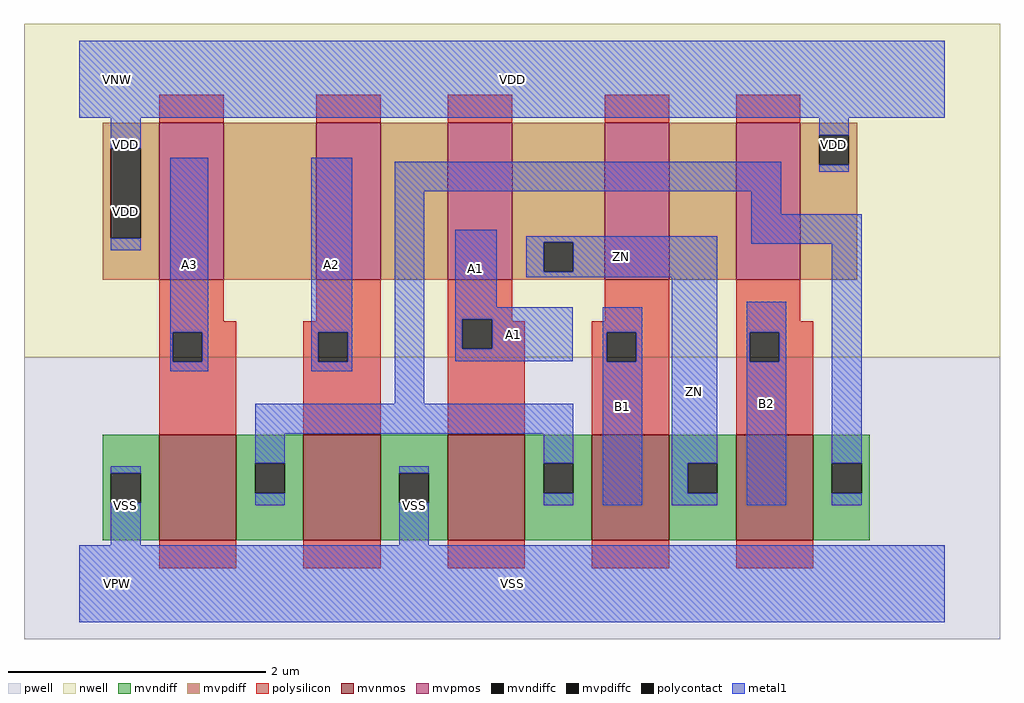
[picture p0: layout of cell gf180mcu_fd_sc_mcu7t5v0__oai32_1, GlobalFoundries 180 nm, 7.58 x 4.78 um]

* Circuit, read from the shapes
.subckt gf180mcu_fd_sc_mcu7t5v0__oai32_1 A1 A2 A3 B1 B2 ZN VDD VNW VPW VSS
XM1 n1 A3 VSS VPW nfet_06v0 w=0.82u l=0.6u
XM2 VSS A2 n1 VPW nfet_06v0 w=0.82u l=0.6u
XM3 n1 A1 VSS VPW nfet_06v0 w=0.82u l=0.6u
XM4 ZN B1 n1 VPW nfet_06v0 w=0.82u l=0.6u
XM5 n1 B2 ZN VPW nfet_06v0 w=0.82u l=0.6u
XM6 n2 A3 VDD VNW pfet_06v0 w=1.22u l=0.5u
XM7 n3 A2 n2 VNW pfet_06v0 w=1.22u l=0.5u
XM8 ZN A1 n3 VNW pfet_06v0 w=1.22u l=0.5u
XM9 n4 B1 ZN VNW pfet_06v0 w=1.22u l=0.5u
XM10 VDD B2 n4 VNW pfet_06v0 w=1.22u l=0.5u
.ends

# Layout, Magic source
magic
tech gf180mcuD
magscale 1 10
<< nwell >>
rect -86 352 1430 870
<< pwell >>
rect -86 -86 1430 352
<< mvnmos >>
rect 124 68 244 232
rect 348 68 468 232
rect 572 68 692 232
rect 796 68 916 232
rect 1020 68 1140 232
<< mvpmos >>
rect 124 472 224 716
rect 368 472 468 716
rect 572 472 672 716
rect 816 472 916 716
rect 1020 472 1120 716
<< mvndiff >>
rect 36 172 124 232
rect 36 126 49 172
rect 95 126 124 172
rect 36 68 124 126
rect 244 187 348 232
rect 244 141 273 187
rect 319 141 348 187
rect 244 68 348 141
rect 468 172 572 232
rect 468 126 497 172
rect 543 126 572 172
rect 468 68 572 126
rect 692 187 796 232
rect 692 141 721 187
rect 767 141 796 187
rect 692 68 796 141
rect 916 187 1020 232
rect 916 141 945 187
rect 991 141 1020 187
rect 916 68 1020 141
rect 1140 187 1228 232
rect 1140 141 1169 187
rect 1215 141 1228 187
rect 1140 68 1228 141
<< mvpdiff >>
rect 36 677 124 716
rect 36 537 49 677
rect 95 537 124 677
rect 36 472 124 537
rect 224 472 368 716
rect 468 472 572 716
rect 672 531 816 716
rect 672 485 721 531
rect 767 485 816 531
rect 672 472 816 485
rect 916 472 1020 716
rect 1120 697 1208 716
rect 1120 651 1149 697
rect 1195 651 1208 697
rect 1120 472 1208 651
<< mvndiffc >>
rect 49 126 95 172
rect 273 141 319 187
rect 497 126 543 172
rect 721 141 767 187
rect 945 141 991 187
rect 1169 141 1215 187
<< mvpdiffc >>
rect 49 537 95 677
rect 721 485 767 531
rect 1149 651 1195 697
<< polysilicon >>
rect 124 716 224 760
rect 368 716 468 760
rect 572 716 672 760
rect 816 716 916 760
rect 1020 716 1120 760
rect 124 408 224 472
rect 368 408 468 472
rect 124 391 244 408
rect 124 345 145 391
rect 191 345 244 391
rect 124 232 244 345
rect 348 391 468 408
rect 348 345 371 391
rect 417 345 468 391
rect 348 232 468 345
rect 572 411 672 472
rect 572 365 595 411
rect 641 408 672 411
rect 816 408 916 472
rect 641 365 692 408
rect 572 232 692 365
rect 796 391 916 408
rect 796 345 819 391
rect 865 345 916 391
rect 796 232 916 345
rect 1020 408 1120 472
rect 1020 391 1140 408
rect 1020 345 1041 391
rect 1087 345 1140 391
rect 1020 232 1140 345
rect 124 24 244 68
rect 348 24 468 68
rect 572 24 692 68
rect 796 24 916 68
rect 1020 24 1140 68
<< polycontact >>
rect 145 345 191 391
rect 371 345 417 391
rect 595 365 641 411
rect 819 345 865 391
rect 1041 345 1087 391
<< metal1 >>
rect 0 724 1344 844
rect 49 677 95 724
rect 1149 697 1195 724
rect 49 518 95 537
rect 141 391 200 662
rect 141 345 145 391
rect 191 345 200 391
rect 141 330 200 345
rect 360 391 424 662
rect 360 345 371 391
rect 417 345 424 391
rect 360 330 424 345
rect 490 610 1090 656
rect 1149 640 1195 651
rect 490 280 536 610
rect 1044 574 1090 610
rect 584 430 648 550
rect 694 531 991 540
rect 694 485 721 531
rect 767 485 991 531
rect 1044 528 1215 574
rect 694 476 991 485
rect 584 411 766 430
rect 584 365 595 411
rect 641 365 766 411
rect 584 346 766 365
rect 813 391 874 430
rect 813 345 819 391
rect 865 345 874 391
rect 273 233 767 280
rect 273 187 319 233
rect 49 172 95 183
rect 49 60 95 126
rect 721 187 767 233
rect 273 122 319 141
rect 497 172 543 183
rect 497 60 543 126
rect 721 122 767 141
rect 813 122 874 345
rect 920 187 991 476
rect 920 141 945 187
rect 920 122 991 141
rect 1037 391 1098 438
rect 1037 345 1041 391
rect 1087 345 1098 391
rect 1037 122 1098 345
rect 1169 187 1215 528
rect 1169 122 1215 141
rect 0 -60 1344 60
<< labels >>
flabel metal1 s 141 330 200 662 0 FreeSans 400 0 0 0 A3
port 3 nsew default input
flabel metal1 s 813 122 874 430 0 FreeSans 400 0 0 0 B1
port 4 nsew default input
flabel metal1 s 1037 122 1098 438 0 FreeSans 400 0 0 0 B2
port 5 nsew default input
flabel metal1 s 0 724 1344 844 0 FreeSans 400 0 0 0 VDD
port 7 nsew power bidirectional abutment
flabel metal1 s 497 60 543 183 0 FreeSans 400 0 0 0 VSS
port 10 nsew ground bidirectional abutment
flabel metal1 s 694 476 991 540 0 FreeSans 400 0 0 0 ZN
port 6 nsew default output
flabel metal1 s 584 430 648 550 0 FreeSans 400 0 0 0 A1
port 1 nsew default input
flabel metal1 s 360 330 424 662 0 FreeSans 400 0 0 0 A2
port 2 nsew default input
flabel nwell s 10 734 110 834 0 FreeSans 400 0 0 0 VNW
port 8 nsew power bidirectional
flabel pwell s 10 -50 110 50 0 FreeSans 400 0 0 0 VPW
port 9 nsew ground bidirectional
rlabel metal1 s 584 346 766 430 1 A1
port 1 nsew default input
rlabel metal1 s 920 122 991 476 1 ZN
port 6 nsew default output
rlabel metal1 s 1149 640 1195 724 1 VDD
port 7 nsew power bidirectional abutment
rlabel metal1 s 49 640 95 724 1 VDD
port 7 nsew power bidirectional abutment
rlabel metal1 s 49 518 95 640 1 VDD
port 7 nsew power bidirectional abutment
rlabel metal1 s 49 60 95 183 1 VSS
port 10 nsew ground bidirectional abutment
rlabel metal1 s 0 -60 1344 60 1 VSS
port 10 nsew ground bidirectional abutment
<< properties >>
string FIXED_BBOX 0 0 1344 784
string GDS_END 55296
string GDS_FILE $PDKPATH/libs.ref/gf180mcu_fd_sc_mcu7t5v0/gds/gf180mcu_fd_sc_mcu7t5v0.gds
string GDS_START 51540
string LEFclass core
string LEFsite GF018hv5v_mcu_sc7
string LEFsymmetry X Y
<< end >>
